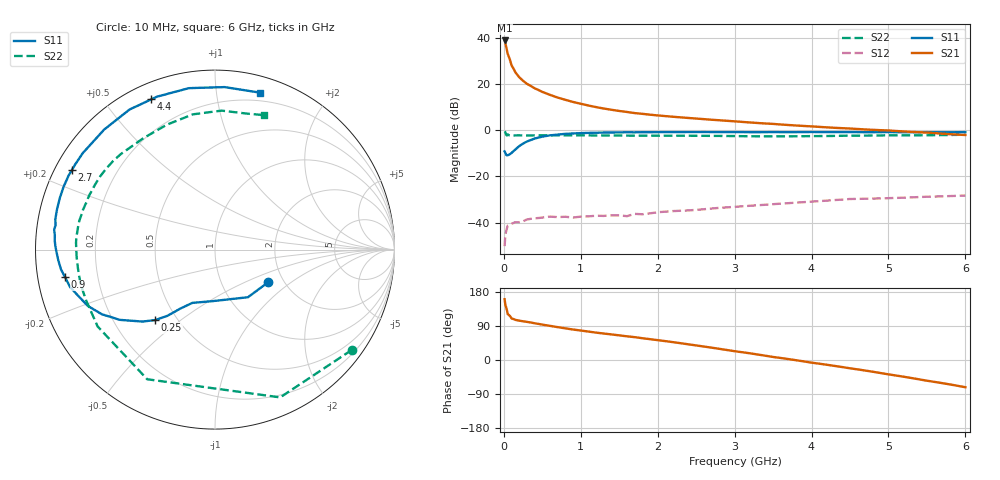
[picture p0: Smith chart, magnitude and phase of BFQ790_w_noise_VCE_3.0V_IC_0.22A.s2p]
! (c) 2015  Infineon Technologies AG, Munich
! Infineon Technologies  Discrete & RF Semiconductors
! BFQ790
! VCE =  3.0 V,  IC = 0.22 A
! Common Emitter S-Parameters:  May 2015
# GHz  S  MA  R  50
!  f  S11  S21  S12  S22
! GHz  MAG  ANG  MAG  ANG  MAG  ANG  MAG  ANG
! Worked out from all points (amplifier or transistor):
!   77 points, 10 MHz to 6 GHz, reference 50 ohm
!   highest |S21| = 38.8 dB at 10 MHz (marker M1)
!   |S21| within 3 dB of that: start of sweep to 32.18 MHz
!   unconditionally stable (mu >= 1): 203.7 MHz to 522.9 MHz; 640.3 MHz to 786.9 MHz; 808.7 MHz to end of sweep
!   at 130 MHz: K = 0.74, MSG = 33.2 dB, |S12| = -40.1 dB
!   at 2.2 GHz: K = 1.27, MAG = 17.3 dB, |S12| = -35.0 dB
!   at 6 GHz: K = 1.09, MAG = 11.3 dB, |S12| = -28.2 dB
!   lowest NFmin = 3.50 dB at 1.5 GHz
!   S11 on the Smith chart (normalised r, x): 10 MHz: 1.67, -0.69; 250 MHz: 0.38, -0.41; 900 MHz: 0.08, -0.09; 2.7 GHz: 0.05, +0.26; 4.4 GHz: 0.07, +0.66; 6 GHz: 0.13, +1.32
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0.01  0.3479 -31.4  87.41 160.4  0.0031 67.6  0.9449 -36.3
0.02  0.3227 -55.3  75.39 144.6  0.0056 51.4  0.9 -66.2
0.05  0.2883 -93.7  45 121.0  0.0086 33.0  0.8151 -117.6
0.1  0.322 -112.9  25.34 109.6  0.0095 17.4  0.7817 -146.8
0.15  0.3827 -120.6  17.84 105.9  0.0102 19.5  0.7719 -158.7
0.2  0.4531 -125.6  14.01 103.8  0.0102 21.7  0.7727 -165.0
0.25  0.5146 -130.3  11.7 102.2  0.0107 17.0  0.7712 -169.2
0.3  0.569 -135.2  10.09 100.6  0.0117 16.7  0.7707 -172.3
0.4  0.6595 -143.6  8.076 96.9  0.0124 16.7  0.772 -176.9
0.5  0.7256 -150.2  6.743 93.4  0.0129 13.0  0.7731 179.7
0.6  0.7748 -156.1  5.817 90.1  0.0135 12.3  0.7754 177.1
0.7  0.8037 -161.2  5.08 86.7  0.0132 13.8  0.7754 174.7
0.9  0.8489 -169.5  4.077 80.4  0.0129 10.4  0.7734 171.1
1.1  0.8749 -176.0  3.418 75.0  0.0137 12.0  0.7726 167.7
1.5  0.8961 174.8  2.609 65.0  0.0144 14.1  0.766 162.0
2.1  0.9092 163.6  2.019 49.8  0.0173 14.1  0.7602 153.2
2.7  0.9123 150.9  1.686 32.6  0.0202 9.6  0.7535 141.3
3.1  0.909 141.7  1.512 20.5  0.0226 4.9  0.7429 132.2
4.1  0.9111 119.3  1.18 -9.7  0.0292 -8.9  0.7467 108.7
4.4  0.9094 112.9  1.106 -18.7  0.0316 -14.5  0.7575 101.6
5.1  0.9069 96.7  0.962 -41.0  0.0343 -29.6  0.7737 85.2
6  0.9099 73.9  0.788 -71.9  0.0387 -50.5  0.7982 69.8
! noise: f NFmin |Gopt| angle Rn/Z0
0.45  5.75  0.49  142  0.55
0.9  4.04  0.62  168  0.18
1.5  3.5  0.72  -172  0.1
1.8  3.53  0.73  -167  0.11
2.6  3.76  0.75  -151  0.29
3.5  4.27  0.85  -135  0.6
